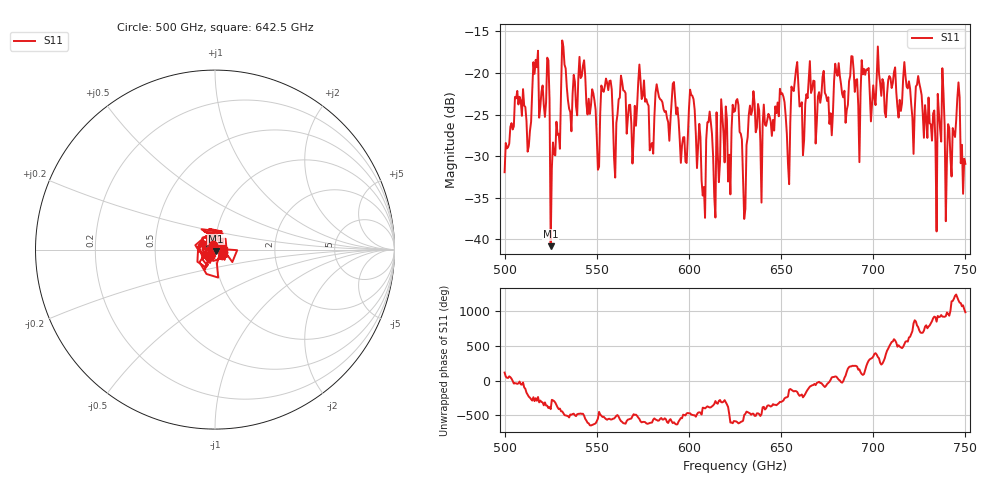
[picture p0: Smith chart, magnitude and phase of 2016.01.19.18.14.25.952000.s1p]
!Created with skrf (http://scikit-rf.org).
# GHz S RI R 50.0
!freq ReS11 ImS11
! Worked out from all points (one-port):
!   401 points, 500 GHz to 750 GHz, reference 50 ohm
!   lowest |S11| = -40.8 dB at 525 GHz (marker M1), VSWR 1.02, Z = 50.6 - j0.722 ohm
!   |S11| at or under -10 dB: start of sweep to end of sweep
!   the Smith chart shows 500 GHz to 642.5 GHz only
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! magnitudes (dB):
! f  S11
! 500 GHz  -31.9
! 506.9 GHz  -22.2
! 513.1 GHz  -28.8
! 516.9 GHz  -18.4
! 525 GHz  -40.8
! 526.2 GHz  -28.4
! 531.2 GHz  -16.1
! 541.9 GHz  -20.4
! 550.6 GHz  -31.6
! 553.8 GHz  -22.3
! 562.5 GHz  -23.0
! 593.8 GHz  -24.2
! 597.5 GHz  -27.7
! 601.9 GHz  -22.8
! 608.1 GHz  -33.7
! 610.6 GHz  -25.9
! 615 GHz  -24.7
! 625 GHz  -24.6
! 630 GHz  -37.5
! 634.4 GHz  -24.5
! 650.6 GHz  -22.4
! 653.8 GHz  -30.9
! 656.2 GHz  -22.0
! 687.5 GHz  -20.4
! 718.8 GHz  -21.9
! 740.6 GHz  -26.1
! 745.6 GHz  -23.0
! 750 GHz  -30.9
